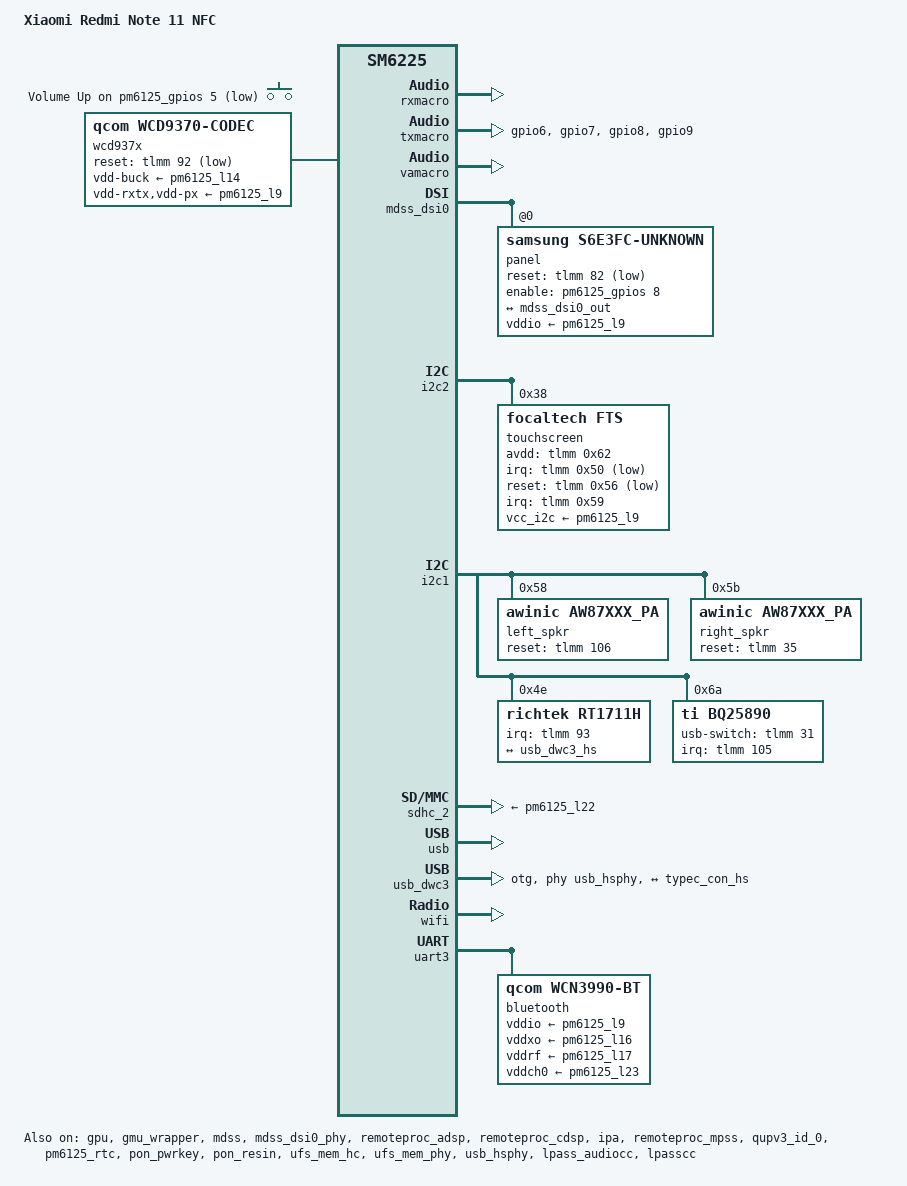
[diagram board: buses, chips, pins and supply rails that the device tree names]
// SPDX-License-Identifier: (GPL-2.0+ OR BSD-3-Clause)
/*
 * Copyright (c) 2026, SCOS100 <hsc100zz@gmail.com>
 */

/dts-v1/;

#include <dt-bindings/usb/pd.h>
#include <dt-bindings/sound/qcom,q6afe.h>
#include <dt-bindings/sound/qcom,q6asm.h>
#include "sm6225.dtsi"
#include "pm6125.dtsi"

/ {
	model = "Xiaomi Redmi Note 11 NFC";
	compatible = "xiaomi,spesn", "qcom,sm6225";
	chassis-type = "handset";

	/* required for bootloader to select correct board */
	qcom,msm-id = <518 0x10000>;
	qcom,board-id = <0x30022 0>;
	qcom,pmic-id = <0x2D 0x0 0x0 0x0>;

	aliases {
		serial0 = &uart3;
	};

	gpio-keys {
		compatible = "gpio-keys";
		pinctrl-names = "default";
		pinctrl-0 = <&vol_up_n>;
		key-volume-up {
			label = "Volume Up";
			linux,code = <KEY_VOLUMEUP>;
			gpios = <&pm6125_gpios 5 GPIO_ACTIVE_LOW>;
			debounce-interval = <15>;
			linux,can-disable;
			wakeup-source;
		};
	};

	chosen {
		bootargs = "pmos.nosplash clk_ignore_unused pd_ignore_unused";

		#address-cells = <0x02>;
		#size-cells = <0x02>;
		ranges;

		framebuffer0: framebuffer@5c000000 {
			compatible = "simple-framebuffer";
			format = "a8r8g8b8";
			height = <0x960>;
			reg = <0x00 0x5c000000 0x00 0xf00000>;
			status = "okay";
			stride = <0x10e0>;
			width = <0x438>;
		};
	};

	sound {
		compatible = "qcom,qrb4210-rb2-sndcard";
		model = "SM6225-WCD9370-WSA8810-Speaker-DMIC";
		audio-routing =
				"AMIC1", "MIC BIAS1",
				"AMIC2", "MIC BIAS2",
				"AMIC3", "MIC BIAS3",

				"IN1_HPHL", "HPHL_OUT",
				"IN2_HPHR", "HPHR_OUT",
				"IN3_AUX", "AUX_OUT",

				"VA DMIC0", "VA MIC BIAS1",
				"VA DMIC1", "VA MIC BIAS1",
				"VA DMIC2", "VA MIC BIAS3",
				"VA DMIC3", "VA MIC BIAS3",

				"VA SWR_MIC0", "ADC1_OUTPUT",
				"VA SWR_MIC4", "ADC2_OUTPUT",
				"VA SWR_MIC5", "ADC3_OUTPUT",

				"TX SWR_INPUT0", "ADC1_OUTPUT",
				"TX SWR_INPUT4", "ADC2_OUTPUT",

				"SpkrLeft IN", "AUX",
				"SpkrRight IN", "AUX";

		aux-devs = <&left_spkr &right_spkr>;

		mm1-dai-link {
			link-name = "MultiMedia1";

			cpu {
				sound-dai = <&q6asmdai MSM_FRONTEND_DAI_MULTIMEDIA1>;
			};
		};

		mm2-dai-link {
			link-name = "MultiMedia2";

			cpu {
				sound-dai = <&q6asmdai MSM_FRONTEND_DAI_MULTIMEDIA2>;
			};
		};

		mm3-dai-link {
			link-name = "MultiMedia3";

			cpu {
				sound-dai = <&q6asmdai MSM_FRONTEND_DAI_MULTIMEDIA3>;
			};
		};

		wcd-playback-dai-link {
			link-name = "WCD Playback";

			cpu {
				sound-dai = <&q6afedai RX_CODEC_DMA_RX_0>;
			};

			platform {
				sound-dai = <&q6routing>;
			};

			codec {
				sound-dai = <&wcd937x 0>,
				<&swr1 0>,
				<&rxmacro 0>;
			};
		};

		// spk-dai-link {
		// 	link-name = "Speaker Playback";
		// 	cpu {
		// 		sound-dai = <&q6afedai SLIMBUS_0_RX>;
		// 	};
		// 	platform {
		// 		sound-dai = <&q6routing>;
		// 	};
		// 	codec {
		// 		sound-dai = <&left_spkr>, <&right_spkr>;
		// 	};
		// };

		wcd-capture-dai-link {
			link-name = "WCD Capture";

			cpu {
				sound-dai = <&q6afedai TX_CODEC_DMA_TX_3>;
			};

			platform {
				sound-dai = <&q6routing>;
			};

			codec {
				sound-dai = <&wcd937x 1>,
				<&swr0 0>,
				<&txmacro 0>;
			};
		};

		va-dai-link {
			link-name = "VA Capture";

			cpu {
				sound-dai = <&q6afedai VA_CODEC_DMA_TX_0>;
			};

			platform {
				sound-dai = <&q6routing>;
			};

			codec {
				sound-dai = <&vamacro 0>;
			};
		};
	};
};

&soc {
	rxmacro: codec@a600000 {
		compatible = "qcom,sm6115-lpass-rx-macro";
		reg = <0x0 0x0a600000 0x0 0x1000>;
		#clock-cells = <0>;
		#sound-dai-cells = <1>;
		clocks = <&q6afecc LPASS_CLK_ID_RX_CORE_MCLK LPASS_CLK_ATTRIBUTE_COUPLE_NO>,
			 <&q6afecc LPASS_CLK_ID_RX_CORE_NPL_MCLK LPASS_CLK_ATTRIBUTE_COUPLE_NO>,
			 <&q6afecc LPASS_HW_DCODEC_VOTE LPASS_CLK_ATTRIBUTE_COUPLE_NO>,
			 <&vamacro>;
		clock-names = "mclk", "npl", "dcodec", "fsgen";
		clock-output-names = "mclk";
		status = "okay";
	};

	txmacro: codec@a620000 {
		compatible = "qcom,sm6115-lpass-tx-macro";
		reg = <0x0 0x0a620000 0x0 0x1000>;
		qcom,dmic-sample-rate = <600000>;
		#clock-cells = <0>;
		#sound-dai-cells = <1>;
		pinctrl-0 = <&lpi_dmic01_active &lpi_dmic23_active>;
		pinctrl-names = "default";
		clocks = <&q6afecc LPASS_CLK_ID_TX_CORE_MCLK LPASS_CLK_ATTRIBUTE_COUPLE_NO>,
			 <&q6afecc LPASS_CLK_ID_TX_CORE_NPL_MCLK LPASS_CLK_ATTRIBUTE_COUPLE_NO>,
			 <&q6afecc LPASS_HW_DCODEC_VOTE LPASS_CLK_ATTRIBUTE_COUPLE_NO>,
			 <&vamacro>;
		clock-names = "mclk", "npl", "dcodec", "fsgen";
		clock-output-names = "mclk";
		status = "okay";
	};

	vamacro: codec@a730000 {
		compatible = "qcom,sm6115-lpass-va-macro";
		reg = <0x0 0x0a730000 0x0 0x1000>;
		qcom,dmic-sample-rate = <600000>;
		#clock-cells = <0>;
		#sound-dai-cells = <1>;
		clocks = <&q6afecc LPASS_CLK_ID_TX_CORE_MCLK LPASS_CLK_ATTRIBUTE_COUPLE_NO>,
			 <&q6afecc LPASS_HW_DCODEC_VOTE LPASS_CLK_ATTRIBUTE_COUPLE_NO>,
			 <&q6afecc LPASS_CLK_ID_TX_CORE_NPL_MCLK LPASS_CLK_ATTRIBUTE_COUPLE_NO>;
		clock-names = "mclk", "dcodec", "npl";
		clock-output-names = "fsgen";
		status = "okay";
	};

	lpass_audiocc: clock-controller@a6a9000 {
		compatible = "qcom,sm6115-lpassaudiocc";
		reg = <0x0 0x0a6a9000 0x0 0x1000>;
		#reset-cells = <1>;

		status = "okay";
	};

	lpasscc: clock-controller@a7ec000 {
		compatible = "qcom,sm6115-lpasscc";
		reg = <0x0 0x0a7ec000 0x0 0x1000>;
		#reset-cells = <1>;

		status = "okay";
	};

	wcd937x: codec {
		compatible = "qcom,wcd9370-codec";
		pinctrl-names = "default";
		pinctrl-0 = <&wcd_reset_n>;
		reset-gpios = <&tlmm 92 GPIO_ACTIVE_LOW>;
		vdd-buck-supply = <&pm6125_l14>;
		vdd-rxtx-supply = <&pm6125_l9>;
		vdd-px-supply = <&pm6125_l9>;
		qcom,micbias1-microvolt = <1800000>;
		qcom,micbias2-microvolt = <1800000>;
		qcom,micbias3-microvolt = <1800000>;
		qcom,rx-device = <&wcd937x_rx>;
		qcom,tx-device = <&wcd937x_tx>;
		#sound-dai-cells = <1>;
	};

	swr0: soundwire@a740000 {
		compatible = "qcom,soundwire-v1.6.0";
		reg = <0x0 0x0a740000 0x0 0x2000>;
		interrupts = <GIC_SPI 296 IRQ_TYPE_LEVEL_HIGH>,
		<GIC_SPI 79 IRQ_TYPE_LEVEL_HIGH>;

		pinctrl-0 = <&lpi_swr_tx_active>;
		pinctrl-names = "default";

		clocks = <&txmacro>;
		clock-names = "iface";

		resets = <&lpasscc 0>;
		reset-names = "swr_audio_cgcr";

		label = "VA_TX";

		qcom,din-ports = <3>;
		qcom,dout-ports = <0>;

		qcom,ports-sinterval-low =
		/bits/ 8 <0x03 0x03 0x03>;
		qcom,ports-offset1 =
		/bits/ 8 <0x01 0x02 0x01>;
		qcom,ports-offset2 =
		/bits/ 8 <0x00 0x00 0x00>;
		qcom,ports-hstart =
		/bits/ 8 <0xff 0xff 0xff>;
		qcom,ports-hstop =
		/bits/ 8 <0xff 0xff 0xff>;
		qcom,ports-word-length =
		/bits/ 8 <0xff 0xff 0xff>;
		qcom,ports-block-pack-mode =
		/bits/ 8 <0xff 0xff 0xff>;
		qcom,ports-block-group-count =
		/bits/ 8 <0xff 0xff 0xff>;
		qcom,ports-lane-control =
		/bits/ 8 <0x00 0x00 0x00>;

		#sound-dai-cells = <1>;
		#address-cells = <2>;
		#size-cells = <0>;

		wcd937x_tx: codec@0,3 {
			compatible = "sdw20217010a00";
			reg = <0 3>;

			/*
			 * WCD9370 TX Port 1 (ADC1)               <=> SWR Port 1
			 * WCD9370 TX Port 2 (ADC2, 3)            <=> SWR Port 1
			 * WCD9370 TX Port 3 (DMIC0,1,2,3 & MBHC) <=> SWR Port 2
			 * WCD9370 TX Port 4 (DMIC4,5,6,7)        <=> SWR Port 3
			 */
			qcom,tx-port-mapping = <1 1 2 3>;

			/*
			 * Static channel mapping between slave and master tx
			 * port channels, in the order of slave port channels
			 * which is adc1, adc2, adc3, mic0, dmic1, mbhc,
			 * dmic2, dmic3, dmic4, dmic5, dmic6, dmic7.
			 */
			qcom,tx-channel-mapping = /bits/ 8
			<1 2 1 1 2 3 3 4 1 2 3 4>;
		};
	};

	swr1: soundwire@a610000 {
		compatible = "qcom,soundwire-v1.6.0";
		reg = <0x0 0x0a610000 0x0 0x2000>;
		interrupts = <GIC_SPI 297 IRQ_TYPE_LEVEL_HIGH>;

		pinctrl-0 = <&lpi_swr_rx_active>;
		pinctrl-names = "default";

		clocks = <&rxmacro>;
		clock-names = "iface";

		resets = <&lpass_audiocc 0>;
		reset-names = "swr_audio_cgcr";

		label = "RX";

		qcom,din-ports = <0>;
		qcom,dout-ports = <5>;

		qcom,ports-sinterval-low =
		/bits/ 8 <0x03 0x1f 0x1f 0x07 0x00>;
		qcom,ports-offset1 =
		/bits/ 8 <0x00 0x00 0x0b 0x01 0x00>;
		qcom,ports-offset2 =
		/bits/ 8 <0x00 0x00 0x0b 0x00 0x00>;
		qcom,ports-hstart =
		/bits/ 8 <0xff 0x03 0xff 0xff 0xff>;
		qcom,ports-hstop =
		/bits/ 8 <0xff 0x06 0xff 0xff 0xff>;
		qcom,ports-word-length =
		/bits/ 8 <0x01 0x07 0x04 0xff 0xff>;
		qcom,ports-block-pack-mode =
		/bits/ 8 <0xff 0x00 0x01 0xff 0xff>;
		qcom,ports-block-group-count =
		/bits/ 8 <0xff 0xff 0xff 0xff 0x00>;
		qcom,ports-lane-control =
		/bits/ 8 <0x01 0x00 0x00 0x00 0x00>;

		#sound-dai-cells = <1>;
		#address-cells = <2>;
		#size-cells = <0>;

		wcd937x_rx: codec@0,4 {
			compatible = "sdw20217010a00";
			reg = <0 4>;
			qcom,rx-port-mapping = <1 2 3 4 5>;
			qcom,rx-channel-mapping = /bits/ 8
			<1 2 1 1 2 1 1 2>;
		};
	};
};

&lpass_tlmm {
	lpi_swr_tx_active: lpi-swr-tx-active-state {
		clk-pins {
			pins = "gpio0";
			function = "swr_tx_clk";
			bias-disable;
			drive-strength = <10>;
			slew-rate = <3>;
		};

		data-pins {
			pins = "gpio1", "gpio2";
			function = "swr_tx_data";
			bias-bus-hold;
			drive-strength = <10>;
			slew-rate = <3>;
		};
	};

	lpi_swr_tx_sleep: lpi-swr-tx-sleep-state {
		clk-pins {
			pins = "gpio0";
			function = "swr_tx_clk";
			bias-pull-down;
			drive-strength = <10>;
			input-enable;
		};

		data-pins {
			pins = "gpio1", "gpio2";
			function = "swr_tx_data";
			bias-bus-hold;
			drive-strength = <10>;
			input-enable;
		};
	};

	lpi_swr_rx_active: lpi-swr-rx-active-state {
		clk-pins {
			pins = "gpio3";
			function = "swr_rx_clk";
			bias-disable;
			drive-strength = <10>;
			slew-rate = <3>;
		};

		data-pins {
			pins = "gpio4", "gpio5";
			function = "swr_rx_data";
			bias-bus-hold;
			drive-strength = <10>;
			slew-rate = <3>;
		};
	};

	lpi_swr_rx_sleep: lpi-swr-rx-sleep-state {
		clk-pins {
			pins = "gpio3";
			function = "swr_rx_clk";
			bias-pull-down;
			drive-strength = <10>;
			input-enable;
		};

		data-pins {
			pins = "gpio4", "gpio5";
			function = "swr_rx_data";
			bias-bus-hold;
			drive-strength = <10>;
			input-enable;
		};
	};

	lpi_dmic01_active: lpi-dmic01-active-state {
		clk-pins {
			pins = "gpio6";
			function = "dmic01_clk";
			drive-strength = <8>;
			output-high;
		};

		data-pins {
			pins = "gpio7";
			function = "dmic01_data";
			drive-strength = <8>;
			input-enable;
		};
	};

	lpi_dmic23_active: lpi-dmic23-active-state {
		clk-pins {
			pins = "gpio8";
			function = "dmic23_clk";
			drive-strength = <8>;
			output-high;
		};

		data-pins {
			pins = "gpio9";
			function = "dmic23_data";
			drive-strength = <8>;
			input-enable;
		};
	};
};

&adreno_smmu {
	status = "okay";
};

&gpu {
	status = "okay";

	zap-shader {
		firmware-name = "qcom/sm6225/XIAOMI/SPES/a610_zap.mdt";
	};
};

&gmu_wrapper {
	status = "okay";
};

&mdss {
	status = "okay";
};

&mdss_dsi0 {
	status = "okay";
	vdda-supply = <&pm6125_l18>;

	panel@0 {
		compatible = "samsung,s6e3fc-unknown";
		reg = <0>;

		vddio-supply = <&pm6125_l9>;

		reset-gpios = <&tlmm 82 0x01>;
		/* downstream: qcom,platform-en-gpio = <&pm6125_gpios 9 0>; */
		enable-gpios = <&pm6125_gpios 8 GPIO_ACTIVE_HIGH>;

		pinctrl-names = "default";
		pinctrl-0 = <&te_active>;

		port {
			panel_in: endpoint {
				remote-endpoint = <&mdss_dsi0_out>;
			};
		};
	};
};

&mdss_dsi0_out {
	data-lanes = <0 1 2 3>;
	remote-endpoint = <&panel_in>;
};

&mdss_dsi0_phy {
	status = "okay";
};

&remoteproc_adsp {
	firmware-name = "qcom/sm6225/XIAOMI/SPESN/adsp.mbn";
	status = "okay";
};

&remoteproc_cdsp {
	firmware-name = "qcom/sm6225/XIAOMI/SPESN/cdsp.mbn";
	status = "okay";
};

&ipa {
	firmware-name = "qcom/sm6225/XIAOMI/SPESN/ipa_fws.mdt";
	status = "okay";
};

&remoteproc_mpss {
	firmware-name = "qcom/sm6225/XIAOMI/SPESN/modem.mdt";
	status = "okay";
};

&tlmm {
	rt1711h_int_n: rt1711h-int-n-state {
		pins = "gpio93";
		function = "gpio";
		drive-strength = <2>;
		bias-pull-up;
	};

	bq2589x_int_default: bq2589x-int-default-state {
		pins = "gpio105";
		function = "gpio";
		drive-strength = <2>;
		bias-pull-up;
		input-enable;
	};

	bq2589x_usb_switch_default: bq2589x-usb-switch-default-state {
		pins = "gpio31";
		function = "gpio";
		drive-strength = <2>;
		bias-pull-down;
		output-low;
	};

	ts_int_active: ts-int-active-state {
		pins = "gpio80";
		function = "gpio";
		drive-strength = <0x08>;
		bias-pull-up;
	};

	ts_int_suspend: ts-int-suspend-state {
		pins = "gpio80";
		function = "gpio";
		drive-strength = <0x02>;
		bias-pull-down;
	};

	ts_reset_active: ts-reset-active-state {
		pins = "gpio86";
		function = "gpio";
		drive-strength = <0x08>;
		bias-pull-up;
	};

	ts_reset_suspend: ts-reset-suspend-state {
		pins = "gpio86";
		function = "gpio";
		drive-strength = <0x02>;
		bias-pull-down;
	};

	mdss_dsi_active: mdss-dsi-active-pin {
		bias-disable;
		drive-strength = <0x08>;
		function = "gpio";
		output-high;
		pins = "gpio82";
	};

	te_active: te-active-pin {
		bias-pull-down;
		drive-strength = <0x02>;
		function = "mdp_vsync";
		input-enable;
		pins = "gpio81";
	};

	wcd_reset_n: wcd-reset-n-active {
		drive-strength = <0x10>;
		output-high;
		pins = "gpio92";
		function = "gpio";
	};

	wcd_reset_n_sleep: wcd-reset-n-sleep {
		drive-strength = <0x10>;
		bias-disable;
		output-low;
		pins = "gpio92";
		function = "gpio";
	};
};

&gpi_dma0 {
	status = "okay";
};

&qupv3_id_0 {
	status = "okay";
};

&i2c2 {
	status = "okay";

	// touchscreen@38 {
	// 	compatible = "focaltech,ft3518";
	// 	reg = <0x38>;
	// 	pinctrl-0 = <&ts_int_active &ts_reset_active>;
	// 	pinctrl-1 = <&ts_int_suspend &ts_reset_suspend>;
	// 	pinctrl-names = "default", "sleep";
	// 	reset-gpios = <&tlmm 86 GPIO_ACTIVE_LOW>;
	// 	interrupt-parents = <&tlmm>;
	// 	interrupts = <89 IRQ_TYPE_EDGE_FALLING>;
	// 	vcc-supply = <&pm6125_l9>;
	// 	touchscreen-size-x = "1080";
	// 	touchscreen-size-y = "2400";
	// };

	touchscreen@38 {
		compatible = "focaltech,fts";
		focaltech,avdd-gpio = <&tlmm 0x62 0x00>;
		focaltech,display-coords = <0x00 0x00 0x438 0x960>;
		focaltech,irq-gpio = <&tlmm 0x50 GPIO_ACTIVE_LOW>;
		focaltech,max-touch-number = <0x0a>;
		focaltech,reset-gpio = <&tlmm 0x56 0x01>;
		interrupt-parent = <&tlmm>;
		interrupts = <0x59 0x02>;
		pinctrl-0 = <&ts_int_active &ts_reset_active>;
		pinctrl-1 = <&ts_int_suspend &ts_reset_suspend>;
		pinctrl-names = "pmx_ts_active", "pmx_ts_suspend";
		reg = <0x38>;
		status = "ok";
		vcc_i2c-supply = <&pm6125_l9>;
	};
};

&i2c1 {
	status = "okay";
	#address-cells = <1>;
	#size-cells = <0>;

	left_spkr: aw87xxx_pa_58@58 {
		compatible = "awinic,aw87xxx_pa";
		dev_index = <0x01>;
		reg = <0x58>;
		reset-gpio = <&tlmm 106 0x00>;
		sound-name-prefix = "SpkrLeft";
		status = "okay";
		#sound-dai-cells = <0>;
	};

	right_spkr: aw87xxx_pa_5B@5b {
		compatible = "awinic,aw87xxx_pa";
		dev_index = <0x00>;
		reg = <0x5b>;
		reset-gpio = <&tlmm 35 0x00>;
		sound-name-prefix = "SpkrRight";
		status = "okay";
		#sound-dai-cells = <0>;
	};

	rt1711h@4e {
		compatible = "richtek,rt1711h";
		reg = <0x4e>;

		interrupt-parent = <&tlmm>;
		interrupts = <93 IRQ_TYPE_LEVEL_LOW>;

		pinctrl-names = "default";
		pinctrl-0 = <&rt1711h_int_n>;

		status = "okay";

		connector {
			compatible = "usb-c-connector";
			label = "USB-C";
			power-role = "dual";
			data-role = "dual";
			try-power-role = "sink";

			source-pdos = <PDO_FIXED(5000, 900, PDO_FIXED_USB_COMM | PDO_FIXED_DUAL_ROLE)>;
			sink-pdos = <PDO_FIXED(5000, 3000, PDO_FIXED_USB_COMM | PDO_FIXED_DUAL_ROLE) PDO_FIXED(9000, 3000, 0) PDO_FIXED(12000, 2250, 0) PDO_FIXED(20000, 1350, 0)>;
			op-sink-microwatt = <33000000>; /* 33W max */

			ports {
				#address-cells = <1>;
				#size-cells = <0>;

				port@0 {
					reg = <0>;
					typec_con_hs: endpoint {
						remote-endpoint = <&usb_dwc3_hs>;
					};
				};
			};
		};
	};

	bq25890@6a {
		compatible = "ti,bq25890";
		reg = <0x6a>;

		interrupt-parent = <&tlmm>;
		interrupts = <105 IRQ_TYPE_EDGE_FALLING>;

		pinctrl-names = "default";
		pinctrl-0 = <&bq2589x_int_default>;

		ti,charge-current = <2000000>;      /* 2A in µA */
		ti,battery-regulation-voltage = <4450000>; /* 4.45V in µV */
		ti,termination-current = <256000>;  /* 256mA in µA */
		ti,precharge-current = <128000>;    /* 128mA in µA */
		ti,minimum-sys-voltage = <3500000>; /* 3.5V in µV */
		ti,boost-voltage = <5000000>;       /* 5V boost output */
		ti,boost-max-current = <1500000>;   /* 1.5A boost */
		ti,input-current-sdp = <500000>;    /* SDP: 500mA */
		ti,input-current-cdp = <1500000>;   /* CDP: 1.5A */
		ti,input-current-dcp = <2000000>;   /* DCP: 2A */
		ti,enable-auto-dpdm;
		ti,enable-termination;
		usb-switch-gpios = <&tlmm 31 GPIO_ACTIVE_HIGH>;
		status = "okay";
	};
};

&rpm_requests {
	regulators-0 {
		compatible = "qcom,rpm-pm6125-regulators";

		/*
		 * S3/S4 is VDD_CX
		 * S5 is VDD_MX/WCSS_MX
		 */

		pm6125_s3: s3 {
			regulator-min-microvolt = <300000>;   /* 0.3V minimum */
			regulator-max-microvolt = <1372000>;  /* 1.372V maximum */
			regulator-always-on;
		};
		pm6125_s4: s4 {
			regulator-min-microvolt = <300000>;   /* 0.3V minimum */
			regulator-max-microvolt = <1372000>;  /* 1.372V maximum */
			regulator-always-on;
		};

		pm6125_s6: s6 {
			regulator-min-microvolt = <400000>;
			regulator-max-microvolt = <1419000>;
		};

		pm6125_s7: s7 {
			regulator-min-microvolt = <1569000>;
			regulator-max-microvolt = <2040000>;
		};

		pm6125_s8: s8 {
			regulator-min-microvolt = <1060000>;
			regulator-max-microvolt = <1170000>;
		};

		pm6125_l1: l1 {
			regulator-min-microvolt = <950000>;
			regulator-max-microvolt = <1150000>;
		};

		pm6125_l4: l4 {
			regulator-min-microvolt = <720000>;
			regulator-max-microvolt = <1050000>;
		};

		pm6125_l5: l5 {
			regulator-min-microvolt = <1648000>;
			/* 3.056V capped to 2.96V for SDHCI */
			regulator-max-microvolt = <3200000>;
			regulator-allow-set-load;
			/* Broken hw, this one can't be turned off or SDHCI will break! */
			regulator-always-on;
		};

		pm6125_l6: l6 {
			regulator-min-microvolt = <570000>;
			regulator-max-microvolt = <650000>;
		};

		pm6125_l7: l7 {
			/* 1.2V-1.304V fixed at 1.256V for SDHCI bias */
			regulator-min-microvolt = <1256000>;
			regulator-max-microvolt = <1256000>;
			/*
			 * TODO: SDHCI seems to also work with this one turned off, however
			 * there exists a possibility that it may not work with some very
			 * specific SDCard types, perhaps validating this against a wide
			 * range of models could rule that out, saving some power would
			 * certainly be nice..
			 */
			regulator-always-on;
		};

		pm6125_l8: l8 {
			regulator-min-microvolt = <400000>;
			regulator-max-microvolt = <728000>;
		};

		pm6125_l9: l9 {
			regulator-min-microvolt = <1504000>;
			regulator-max-microvolt = <2000000>;
			regulator-always-on;
		};

		pm6125_l10: l10 {
			regulator-min-microvolt = <1700000>;
			regulator-max-microvolt = <1900000>;
		};

		pm6125_l11: l11 {
			regulator-min-microvolt = <1700000>;
			regulator-max-microvolt = <1950000>;
		};

		pm6125_l12: l12 {
			regulator-min-microvolt = <1620000>;
			regulator-max-microvolt = <1980000>;
		};

		pm6125_l13: l13 {
			regulator-min-microvolt = <1504000>;
			regulator-max-microvolt = <2000000>;
		};

		pm6125_l14: l14 {
			regulator-min-microvolt = <1700000>;
			regulator-max-microvolt = <1900000>;
		};

		pm6125_l15: l15 {
			regulator-min-microvolt = <2700000>;
			regulator-max-microvolt = <3544000>;
		};

		pm6125_l16: l16 {
			regulator-min-microvolt = <1700000>;
			regulator-max-microvolt = <1900000>;
		};

		pm6125_l17: l17 {
			regulator-min-microvolt = <1220000>;
			regulator-max-microvolt = <1304000>;
		};

		pm6125_l18: l18 {
			/* 1.104V-1.312V fixed @ 1.232V for DSIPHY, matches
			 * downstream khaje-regulator (init 1232000) and the
			 * downstream DSI vdda-1p2 1232000 supply entry. */
			regulator-min-microvolt = <1232000>;
			regulator-max-microvolt = <1232000>;
		};

		pm6125_l19: l19 {
			regulator-min-microvolt = <1620000>;
			regulator-max-microvolt = <3300000>;
		};

		pm6125_l20: l20 {
			regulator-min-microvolt = <1620000>;
			regulator-max-microvolt = <3300000>;
		};

		pm6125_l21: l21 {
			regulator-min-microvolt = <1600000>;
			regulator-max-microvolt = <3544000>;
		};

		pm6125_l22: l22 {
			regulator-min-microvolt = <2950000>;
			/* 3.304V capped to 2.96V for SDHCI */
			regulator-max-microvolt = <3300000>;
			regulator-allow-set-load;
			/* Broken hw, this one can't be turned off or SDHCI will break! */
			regulator-always-on;
		};

		pm6125_l23: l23 {
			regulator-min-microvolt = <3200000>;
			regulator-max-microvolt = <3400000>;
		};

		pm6125_l24: l24 {
			regulator-min-microvolt = <2700000>;
			regulator-max-microvolt = <3544000>;
		};
	};
};

&pm6125_gpios {
	vol_up_n: vol-up-n-state {
		pins = "gpio5";
		function = "normal";
		power-source = <0>;
		bias-pull-up;
		input-enable;
	};

	disp_bias_en_default: disp-bias-en-default-state {
		pins = "gpio9";
		function = "normal";
		power-source = <0>;
		bias-disable;
	};
};

&pm6125_rtc {
	status = "okay";
};

&pon_pwrkey {
	status = "okay";
};

&pon_resin {
	linux,code = <KEY_VOLUMEDOWN>;
	status = "okay";
};

&sdc2_state_off {
	cd-pins {
		pins = "gpio88";
		function = "gpio";
		drive-strength = <2>;
		bias-disable;
	};
};

&sdc2_state_on {
	cd-pins {
		pins = "gpio88";
		function = "gpio";
		drive-strength = <2>;
		bias-pull-up;
	};
};

&sdhc_2 {
	pinctrl-0 = <&sdc2_state_on>;
	pinctrl-1 = <&sdc2_state_off>;
	pinctrl-names = "default", "sleep";

	//cd-gpios = <&tlmm 88 GPIO_ACTIVE_LOW>;

	vmmc-supply = <&pm6125_l22>;
	vqmmc-supply = <&pm6125_l5>;

	status = "okay";
};

&sleep_clk {
	clock-frequency = <32764>;
};

&ufs_mem_hc {
	vcc-supply = <&pm6125_l24>;
	vcc-max-microamp = <800000>;
	vccq2-supply = <&pm6125_l11>;
	vccq2-max-microamp = <800000>;
	vdd-hba-supply = <&pm6125_l18>; // ??? sus
	status = "okay";
};

&ufs_mem_phy {
	vdda-phy-supply = <&pm6125_l4>;
	vdda-phy-max-microamp = <0x14ec4>;
	vdda-pll-supply = <&pm6125_l18>;
	status = "okay";
	vdda-pll-max-microamp = <0x477c>;
};

&usb {
	status = "okay";
	qcom,select-utmi-as-pipe-clk;
};

&usb_dwc3 {
	phys = <&usb_hsphy>;
	phy-names = "usb2-phy";
	maximum-speed = "high-speed";
	dr_mode = "otg";

	ports {
		port@0 {
			usb_dwc3_hs: endpoint {
				remote-endpoint = <&typec_con_hs>;
			};
		};
	};
};

&usb_hsphy {
	vdd-supply = <&pm6125_l4>;
	vdda-pll-supply = <&pm6125_l12>;
	vdda-phy-dpdm-supply = <&pm6125_l15>;
	status = "okay";
};

// &usb_qmpphy {
// 	vdda-phy-supply = <&pm6125_l4>;
// 	vdda-pll-supply = <&pm6125_l12>;
// 	status = "okay";
// };

&wifi {
	vdd-0.8-cx-mx-supply = <&pm6125_l8>;
	vdd-1.8-xo-supply = <&pm6125_l16>;
	vdd-1.3-rfa-supply = <&pm6125_l17>;
	vdd-3.3-ch0-supply = <&pm6125_l23>;
	status = "okay";
};

&uart3 {
	pinctrl-0 = <&qup_uart3_4pin>;
	status = "okay";

	bluetooth {
		compatible = "qcom,wcn3990-bt";

		vddio-supply = <&pm6125_l9>;
		vddxo-supply = <&pm6125_l16>;
		vddrf-supply = <&pm6125_l17>;
		vddch0-supply = <&pm6125_l23>;
	};
};

&xo_board {
	clock-frequency = <19200000>;
};
